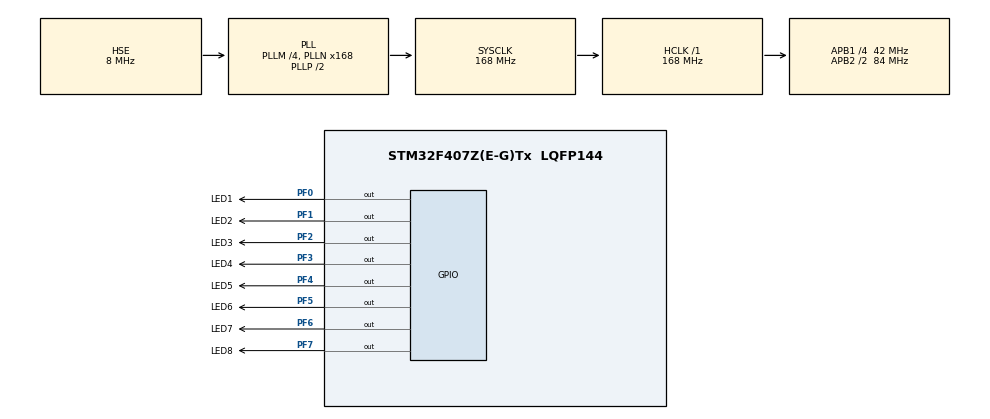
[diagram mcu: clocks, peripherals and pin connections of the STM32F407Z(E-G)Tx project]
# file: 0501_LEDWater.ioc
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Mcu.Family=STM32F4
Mcu.Name=STM32F407Z(E-G)Tx
Mcu.Package=LQFP144
NVIC.PriorityGroup=NVIC_PRIORITYGROUP_4
PA13.Mode=Serial_Wire
PA13.Signal=SYS_JTMS-SWDIO
PA14.Mode=Serial_Wire
PA14.Signal=SYS_JTCK-SWCLK
PF0.GPIO_Label=LED1
PF0.PinState=GPIO_PIN_SET
PF0.Signal=GPIO_Output
PF1.GPIO_Label=LED2
PF1.PinState=GPIO_PIN_SET
PF1.Signal=GPIO_Output
PF2.GPIO_Label=LED3
PF2.PinState=GPIO_PIN_SET
PF2.Signal=GPIO_Output
PF3.GPIO_Label=LED4
PF3.PinState=GPIO_PIN_SET
PF3.Signal=GPIO_Output
PF4.GPIO_Label=LED5
PF4.PinState=GPIO_PIN_SET
PF4.Signal=GPIO_Output
PF5.GPIO_Label=LED6
PF5.PinState=GPIO_PIN_SET
PF5.Signal=GPIO_Output
PF6.GPIO_Label=LED7
PF6.PinState=GPIO_PIN_SET
PF6.Signal=GPIO_Output
PF7.GPIO_Label=LED8
PF7.PinState=GPIO_PIN_SET
PF7.Signal=GPIO_Output
PH0-OSC_IN.Mode=HSE-External-Oscillator
PH0-OSC_IN.Signal=RCC_OSC_IN
PH1-OSC_OUT.Mode=HSE-External-Oscillator
PH1-OSC_OUT.Signal=RCC_OSC_OUT
ProjectManager.HeapSize=0x200
ProjectManager.StackSize=0x400
ProjectManager.TargetToolchain=MDK-ARM V5.32
RCC.48MHZClocksFreq_Value=84000000
RCC.AHBFreq_Value=168000000
RCC.APB1CLKDivider=RCC_HCLK_DIV4
RCC.APB1Freq_Value=42000000
RCC.APB1TimFreq_Value=84000000
RCC.APB2CLKDivider=RCC_HCLK_DIV2
RCC.APB2Freq_Value=84000000
RCC.APB2TimFreq_Value=168000000
RCC.CortexFreq_Value=168000000
RCC.HCLKFreq_Value=168000000
RCC.HSE_VALUE=8000000
RCC.HSI_VALUE=16000000
RCC.LSE_VALUE=32768
RCC.PLLM=4
RCC.PLLN=168
RCC.PLLSourceVirtual=RCC_PLLSOURCE_HSE
RCC.SYSCLKFreq_VALUE=168000000
RCC.SYSCLKSource=RCC_SYSCLKSOURCE_PLLCLK
RCC.VCOOutputFreq_Value=336000000
board=custom

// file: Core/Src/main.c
/* USER CODE BEGIN Header */
/**
  ******************************************************************************
  * @file           : main.c
  * @brief          : Main program body
  ******************************************************************************
  * @attention
  *
  * Copyright (c) 2026 STMicroelectronics.
  * All rights reserved.
  *
  * This software is licensed under terms that can be found in the LICENSE file
  * in the root directory of this software component.
  * If no LICENSE file comes with this software, it is provided AS-IS.
  *
  ******************************************************************************
  */
/* USER CODE END Header */
#include "main.h"
#include "gpio.h"

void SystemClock_Config(void);

/* USER CODE BEGIN 0 */
void delay(uint32_t i)
{
  while(i--);
}
/* USER CODE END 0 */

int main(void)
{

  /* MCU Configuration--------------------------------------------------------*/

  /* Reset of all peripherals, Initializes the Flash interface and the Systick. */
  HAL_Init();

  /* Configure the system clock */
  SystemClock_Config();

  /* Initialize all configured peripherals */
  MX_GPIO_Init();

  /* Infinite loop */
  /* USER CODE BEGIN WHILE */
  while (1)
  {
		 HAL_GPIO_WritePin(GPIOF, LED1_Pin, GPIO_PIN_RESET);
     HAL_GPIO_WritePin(GPIOF, LED2_Pin|LED3_Pin|LED4_Pin|LED5_Pin|LED6_Pin|LED7_Pin|LED8_Pin, GPIO_PIN_SET);
     HAL_Delay(400);

		 HAL_GPIO_WritePin(GPIOF, LED2_Pin, GPIO_PIN_RESET);
     HAL_GPIO_WritePin(GPIOF, LED1_Pin|LED3_Pin|LED4_Pin|LED5_Pin|LED6_Pin|LED7_Pin|LED8_Pin, GPIO_PIN_SET);
     HAL_Delay(400);

		 HAL_GPIO_WritePin(GPIOF, LED3_Pin, GPIO_PIN_RESET);
     HAL_GPIO_WritePin(GPIOF, LED1_Pin|LED2_Pin|LED4_Pin|LED5_Pin|LED6_Pin|LED7_Pin|LED8_Pin, GPIO_PIN_SET);
     HAL_Delay(400);

		 HAL_GPIO_WritePin(GPIOF, LED4_Pin, GPIO_PIN_RESET);
     HAL_GPIO_WritePin(GPIOF, LED1_Pin|LED2_Pin|LED3_Pin|LED5_Pin|LED6_Pin|LED7_Pin|LED8_Pin, GPIO_PIN_SET);
     HAL_Delay(400);

		 HAL_GPIO_WritePin(GPIOF, LED5_Pin, GPIO_PIN_RESET);
     HAL_GPIO_WritePin(GPIOF, LED1_Pin|LED2_Pin|LED3_Pin|LED4_Pin|LED6_Pin|LED7_Pin|LED8_Pin, GPIO_PIN_SET);
     HAL_Delay(400);

	   HAL_GPIO_WritePin(GPIOF, LED6_Pin, GPIO_PIN_RESET);
     HAL_GPIO_WritePin(GPIOF, LED1_Pin|LED2_Pin|LED3_Pin|LED4_Pin|LED5_Pin|LED7_Pin|LED8_Pin, GPIO_PIN_SET);
     HAL_Delay(400);

     HAL_GPIO_WritePin(GPIOF, LED7_Pin, GPIO_PIN_RESET);
     HAL_GPIO_WritePin(GPIOF, LED1_Pin|LED2_Pin|LED3_Pin|LED4_Pin|LED5_Pin|LED6_Pin|LED8_Pin, GPIO_PIN_SET);
     HAL_Delay(400);

	   HAL_GPIO_WritePin(GPIOF, LED8_Pin, GPIO_PIN_RESET);
     HAL_GPIO_WritePin(GPIOF, LED1_Pin|LED2_Pin|LED3_Pin|LED4_Pin|LED5_Pin|LED6_Pin|LED7_Pin, GPIO_PIN_SET);
     HAL_Delay(400);
    /* USER CODE END WHILE */

  }
}

void SystemClock_Config(void)
{
  RCC_OscInitTypeDef RCC_OscInitStruct = {0};
  RCC_ClkInitTypeDef RCC_ClkInitStruct = {0};

  /** Configure the main internal regulator output voltage
  */
  __HAL_RCC_PWR_CLK_ENABLE();
  __HAL_PWR_VOLTAGESCALING_CONFIG(PWR_REGULATOR_VOLTAGE_SCALE1);

  /** Initializes the RCC Oscillators according to the specified parameters
  * in the RCC_OscInitTypeDef structure.
  */
  RCC_OscInitStruct.OscillatorType = RCC_OSCILLATORTYPE_HSE;
  RCC_OscInitStruct.HSEState = RCC_HSE_ON;
  RCC_OscInitStruct.PLL.PLLState = RCC_PLL_ON;
  RCC_OscInitStruct.PLL.PLLSource = RCC_PLLSOURCE_HSE;
  RCC_OscInitStruct.PLL.PLLM = 4;
  RCC_OscInitStruct.PLL.PLLN = 168;
  RCC_OscInitStruct.PLL.PLLP = RCC_PLLP_DIV2;
  RCC_OscInitStruct.PLL.PLLQ = 4;
  if (HAL_RCC_OscConfig(&RCC_OscInitStruct) != HAL_OK)
  {
    Error_Handler();
  }

  /** Initializes the CPU, AHB and APB buses clocks
  */
  RCC_ClkInitStruct.ClockType = RCC_CLOCKTYPE_HCLK|RCC_CLOCKTYPE_SYSCLK
                              |RCC_CLOCKTYPE_PCLK1|RCC_CLOCKTYPE_PCLK2;
  RCC_ClkInitStruct.SYSCLKSource = RCC_SYSCLKSOURCE_PLLCLK;
  RCC_ClkInitStruct.AHBCLKDivider = RCC_SYSCLK_DIV1;
  RCC_ClkInitStruct.APB1CLKDivider = RCC_HCLK_DIV4;
  RCC_ClkInitStruct.APB2CLKDivider = RCC_HCLK_DIV2;

  if (HAL_RCC_ClockConfig(&RCC_ClkInitStruct, FLASH_LATENCY_5) != HAL_OK)
  {
    Error_Handler();
  }
}

void Error_Handler(void)
{
  __disable_irq();
  while (1)
  {
  }
}
